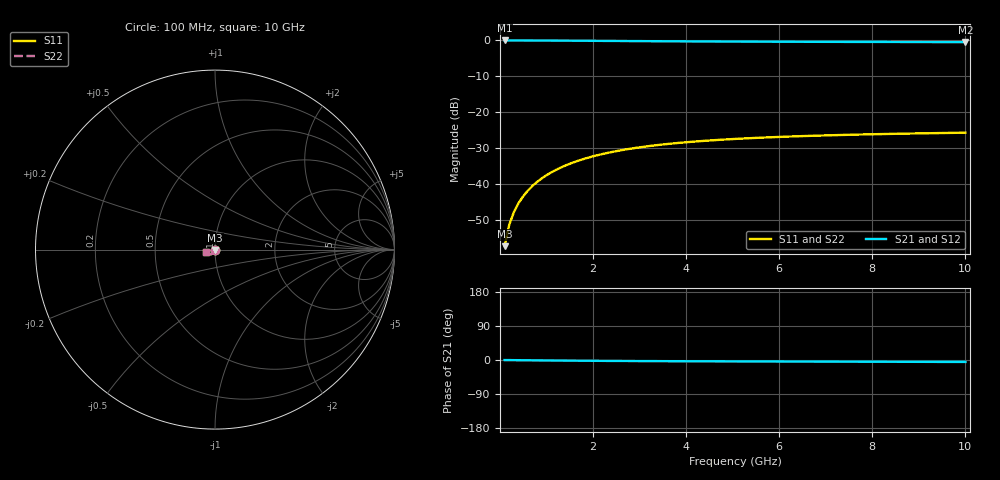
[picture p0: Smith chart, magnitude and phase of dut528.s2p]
! Touchstone file exported from HFSS 2024.1.0
!  File:  C:/UserFiles/LocalFiles/RDL_TSV_Batchsim/temp_TSV1_528_1779704244.aedt
!  Generated:  06:22:17 PM May 25, 2026
!  Design:  TSV1
!  Project:  temp_TSV1_528_1779704244
!  Setup:  Setup1
!  Solution:  Sweep
! Variables:
!  dtsv = 10.64um
!  hbump = 3um
!  htsv = 81.06um
!  lrdl = 252.1521522um
!  p = 40
!  p1 = 43.42um
!  t = 500um
!  trdl = 3um
!  wrdl = 24.89489489um
# GHz S MA R 50.000000
! Terminal data exported
! Port[1] = TSV22_T1
! Port[2] = TSV22_T2
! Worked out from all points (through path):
!   100 points, 100 MHz to 10 GHz, reference 50 ohm
!   highest |S21| = 0.00 dB at 100 MHz (marker M1); lowest = -0.5 dB at 10 GHz (marker M2)
!   lowest |S11| = -57.3 dB at 100 MHz (marker M3), VSWR 1.00, Z = 50 - j0.136 ohm
!   |S11| at or under -10 dB: start of sweep to end of sweep
!   |S22| runs from -57.3 to -25.7 dB; largest |S21 - S12| = 5.1e-15
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0.1  0.001365 -86.0  0.9998 -0.1  0.9998 -0.1  0.001365 -86.0
! Gamma 0 0 0 0
! Port Impedance 50 0 50 0
0.2  0.002722 -90.2  0.9997 -0.2  0.9997 -0.2  0.002722 -90.2
0.3  0.00408 -92.6  0.9995 -0.4  0.9995 -0.4  0.00408 -92.6
0.4  0.005435 -94.6  0.9992 -0.5  0.9992 -0.5  0.005435 -94.6
0.5  0.006782 -96.4  0.9989 -0.6  0.9989 -0.6  0.006782 -96.4
0.6  0.008116 -98.1  0.9985 -0.7  0.9985 -0.7  0.008116 -98.1
0.7  0.009435 -99.8  0.998 -0.8  0.998 -0.8  0.009435 -99.8
0.8  0.01074 -101.4  0.9975 -1.0  0.9975 -1.0  0.01074 -101.4
0.9  0.01202 -103.0  0.9969 -1.1  0.9969 -1.1  0.01202 -103.0
1.1  0.01451 -106.1  0.9956 -1.3  0.9956 -1.3  0.01451 -106.1
1.4  0.01804 -110.5  0.9933 -1.6  0.9933 -1.6  0.01804 -110.5
1.6  0.02026 -113.3  0.9916 -1.8  0.9916 -1.8  0.02026 -113.3
1.8  0.02235 -116.0  0.9899 -2.0  0.9899 -2.0  0.02235 -116.0
2.1  0.02526 -119.8  0.9872 -2.2  0.9872 -2.2  0.02526 -119.8
2.5  0.02874 -124.4  0.9835 -2.5  0.9835 -2.5  0.02874 -124.4
2.9  0.03177 -128.7  0.98 -2.7  0.98 -2.7  0.03177 -128.7
3.4  0.035 -133.4  0.9758 -3.0  0.9758 -3.0  0.035 -133.4
4.2  0.03915 -139.9  0.9699 -3.3  0.9699 -3.3  0.03915 -139.9
5.1  0.04267 -146.0  0.9645 -3.7  0.9645 -3.7  0.04267 -146.0
6.7  0.04699 -154.5  0.9573 -4.2  0.9573 -4.2  0.04699 -154.5
8.4  0.04998 -161.4  0.9521 -4.7  0.9521 -4.7  0.04998 -161.4
10  0.05193 -166.7  0.9486 -5.2  0.9486 -5.2  0.05193 -166.7
